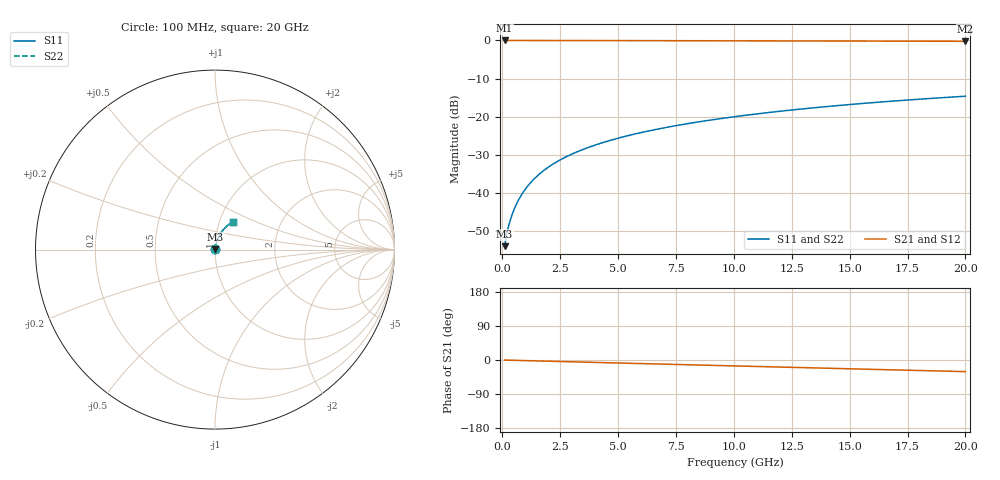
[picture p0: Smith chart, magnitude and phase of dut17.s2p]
! Touchstone file exported from HFSS 2026.1.0
!  File:  C:/ffzhzh/LocalFiles/Ansys_Project_Files/temp_test_BSMRDL_17_1782907478_46784.aedt
!  Generated:  08:05:48 PM Jul  1, 2026
!  Design:  BSMRDL
!  Project:  temp_test_BSMRDL_17_1782907478_46784
! Variables:
!  h_bsmrdl = 5.64um
!  h_ox = 20um
!  h_rdl = 5um
!  h_sub = 80um
!  h_tmrdl = 5um
!  h_tsv = 80um
!  h_via = 3um
!  l_bsmrdl = 498.64um
!  l_sub = 898.64um
!  l_tmrdl = 200um
!  m_sub = 200um
!  pitch = 38.3um
!  r_tsv = 6um
!  s_tmrdl = 10um
!  w_bsmrdl = 23.38um
!  w_sub = 500um
!  w_tmrdl = 12um
!  x_tsv_center1 = 206um
!  x_tsv_center2 = 728.02um
!  x_tsv_center3 = 940.02um
!  x_tsv_center4 = 1462.04um
!  x_tsv_center5 = 1674.04um
!  x_tsv_center6 = 2196.06um
# GHz S MA R 50.000000
! Terminal data exported
! Port[1] = BSM_RDL1_1_T1
! Port[2] = BSM_RDL1_1_T2
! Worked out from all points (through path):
!   200 points, 100 MHz to 20 GHz, reference 50 ohm
!   highest |S21| = -0.01 dB at 100 MHz (marker M1); lowest = -0.2 dB at 20 GHz (marker M2)
!   group delay of S21, straight-line fit = 4.25 ps
!   lowest |S11| = -53.9 dB at 100 MHz (marker M3), VSWR 1.00, Z = 50.2 + j0.13 ohm
!   |S11| at or under -10 dB: start of sweep to end of sweep
!   |S22| runs from -53.9 to -14.6 dB; largest |S21 - S12| = 3e-15
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0.1  0.002013 40.1  0.9985 -0.2  0.9985 -0.2  0.002013 40.1
! Gamma 0 0 0 0
! Port Impedance 50 0 50 0
0.2  0.002979 55.1  0.9983 -0.3  0.9983 -0.3  0.002979 55.1
0.3  0.003967 62.6  0.9982 -0.5  0.9982 -0.5  0.003967 62.6
0.4  0.004973 67.4  0.9981 -0.7  0.9981 -0.7  0.004973 67.4
0.5  0.006 70.6  0.9981 -0.8  0.9981 -0.8  0.006 70.6
0.6  0.007043 72.9  0.998 -1.0  0.998 -1.0  0.007043 72.9
0.8  0.00916 75.8  0.9979 -1.3  0.9979 -1.3  0.00916 75.8
1.1  0.01237 78.1  0.9978 -1.8  0.9978 -1.8  0.01237 78.1
1.3  0.01451 78.8  0.9976 -2.1  0.9976 -2.1  0.01451 78.9
1.6  0.01772 79.4  0.9974 -2.6  0.9974 -2.6  0.01772 79.4
2.1  0.02301 79.7  0.997 -3.4  0.997 -3.4  0.02301 79.7
2.7  0.02925 79.4  0.9964 -4.3  0.9964 -4.3  0.02925 79.4
3.5  0.03741 78.6  0.9955 -5.6  0.9955 -5.6  0.03741 78.6
4.2  0.04442 77.8  0.9948 -6.7  0.9948 -6.7  0.04442 77.8
5  0.0523 76.9  0.9939 -7.9  0.9939 -7.9  0.0523 76.9
5.9  0.06106 75.7  0.9929 -9.3  0.9929 -9.3  0.06106 75.8
6.8  0.06972 74.6  0.9919 -10.7  0.9919 -10.7  0.06971 74.6
8.3  0.08395 72.7  0.9902 -13.0  0.9902 -13.0  0.08395 72.7
10.1  0.1007 70.3  0.9879 -15.8  0.9879 -15.8  0.1007 70.3
13.4  0.1305 65.7  0.9835 -20.8  0.9835 -20.8  0.1305 65.7
16.7  0.1589 61.1  0.9785 -25.8  0.9785 -25.8  0.1589 61.1
20  0.1857 56.4  0.9731 -30.7  0.9731 -30.7  0.1856 56.4
